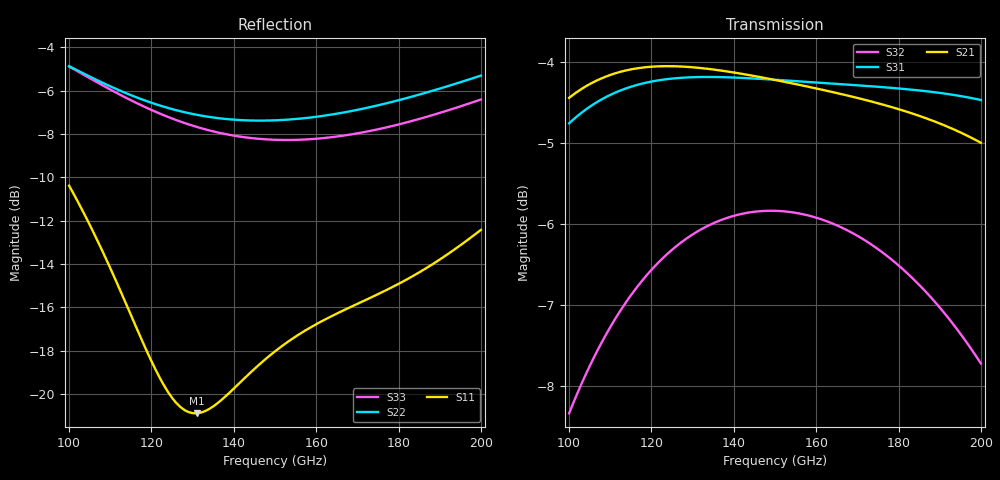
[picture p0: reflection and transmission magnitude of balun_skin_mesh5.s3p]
! Created with skrf 2.1.0 (http://scikit-rf.org).
# GHz S DB R 50.0
! Port[1] = P1
! Port[2] = P2
! Port[3] = P3
!freq dBS11 angS11 dBS12 angS12 dBS13 angS13
! dBS21 angS21 dBS22 angS22 dBS23 angS23
! dBS31 angS31 dBS32 angS32 dBS33 angS33
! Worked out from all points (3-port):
!   101 points, 100 GHz to 200 GHz, reference 50 ohm
!   strongest paths, dB at 100 GHz, 125 GHz, 150 GHz, 175 GHz, 200 GHz:
!     S21: -4.4, -4.0, -4.2, -4.5, -5.0
!     S31: -4.8, -4.2, -4.2, -4.3, -4.5
!     S32: -8.3, -6.3, -5.8, -6.3, -7.7
!   lowest |S11| = -20.9 dB at 131 GHz (marker M1), VSWR 1.20, Z = 41.8 + j1.56 ohm
!   |S11| at or under -10 dB: start of sweep to end of sweep
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100  -10.38 132.4  -4.44 -16.0  -4.75 159.8
     -4.44 -16.0  -4.86 59.7  -8.34 89.1
     -4.75 159.8  -8.34 89.1  -4.87 48.6
111  -14.61 128.2  -4.14 -33.2  -4.38 141.3
     -4.14 -33.2  -5.88 50.1  -7.19 71.7
     -4.38 141.3  -7.19 71.7  -6.04 37.0
123  -19.58 144.1  -4.05 -50.5  -4.21 122.8
     -4.05 -50.5  -6.73 41.1  -6.41 54.1
     -4.21 122.8  -6.41 54.1  -7.13 26.2
127  -20.59 155.8  -4.05 -55.9  -4.19 117.0
     -4.05 -55.9  -6.94 38.3  -6.23 48.5
     -4.19 117.0  -6.23 48.5  -7.42 23.0
131  -20.88 168.2  -4.07 -61.1  -4.18 111.3
     -4.07 -61.1  -7.11 35.6  -6.10 43.1
     -4.18 111.3  -6.10 43.1  -7.67 19.9
150  -18.02 -162.1  -4.22 -84.6  -4.22 86.1
     -4.22 -84.6  -7.36 22.0  -5.84 18.8
     -4.22 86.1  -5.84 18.8  -8.26 5.6
161  -16.67 -158.1  -4.33 -97.5  -4.25 72.4
     -4.33 -97.5  -7.17 13.3  -5.94 5.6
     -4.25 72.4  -5.94 5.6  -8.19 -3.0
173  -15.57 -155.2  -4.48 -111.4  -4.30 57.6
     -4.48 -111.4  -6.76 2.9  -6.24 -8.6
     -4.30 57.6  -6.24 -8.6  -7.85 -12.9
187  -14.15 -152.0  -4.70 -127.8  -4.36 40.3
     -4.70 -127.8  -6.07 -10.2  -6.86 -24.9
     -4.36 40.3  -6.86 -24.9  -7.19 -25.2
200  -12.42 -151.5  -5.00 -143.5  -4.47 23.8
     -5.00 -143.5  -5.30 -23.2  -7.72 -40.2
     -4.47 23.8  -7.72 -40.2  -6.40 -37.4
